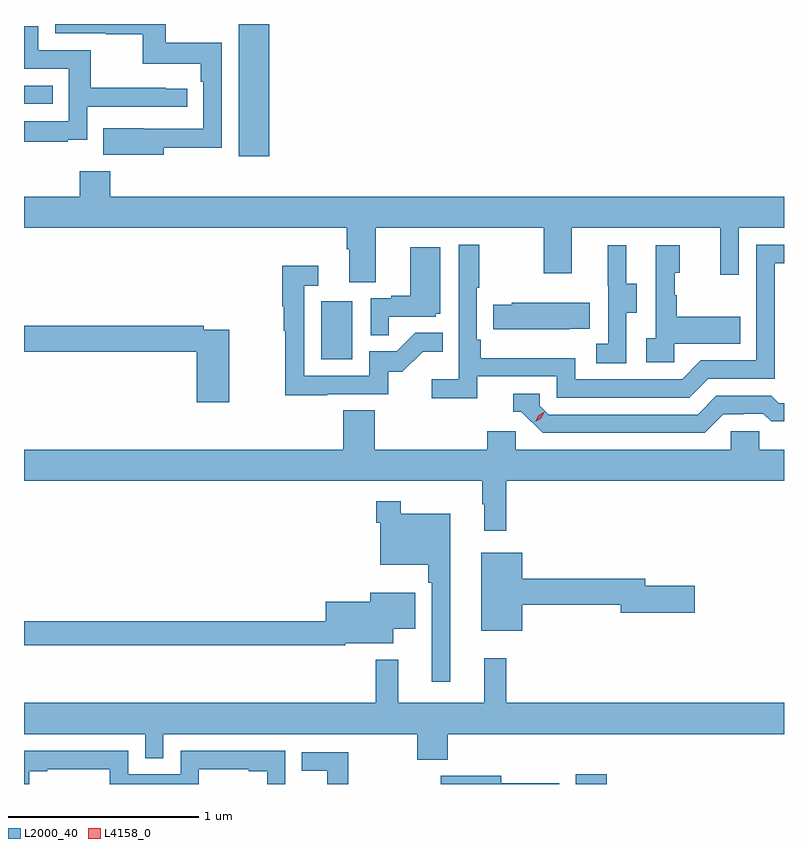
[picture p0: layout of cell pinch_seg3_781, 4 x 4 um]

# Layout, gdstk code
import gdstk
lib = gdstk.Library(unit=1e-6, precision=1e-09)
def R(c, l, rs):  # rectangles x0, y0, x1, y1
    for r in rs: c.add(gdstk.rectangle(r[:2], r[2:], *l))
def P(c, l, *ps):  # polygons
    for p in ps: c.add(gdstk.Polygon(p, *l))
L2000_40 = (2000, 40)
L4158_0 = (4158, 0)

pinch_seg3_781 = lib.new_cell('pinch_seg3_781')
R(pinch_seg3_781, L2000_40, [(820.229,717.969,820.39,718.021), (818.888,720.204,819.052,720.511), (818.453,721.272,818.614,721.969), (817.324,721.548,817.475,721.644)])
P(pinch_seg3_781, L2000_40, [(818.059,721.318),(818.364,721.318),(818.364,721.87),(818.071,721.87),(818.071,721.969),(817.488,721.969),(817.488,721.92),(817.753,721.92),(817.753,721.915),(817.95,721.915),(817.95,721.76),(818.255,721.76),(818.255,721.664),(818.268,721.664),(818.268,721.419),(817.955,721.419),(817.955,721.42),(817.741,721.42),(817.741,721.28),(818.059,721.28)],
  [(817.553,721.361),(817.656,721.361),(817.656,721.533),(818.182,721.533),(818.182,721.629),(818.069,721.629),(818.069,721.634),(817.676,721.634),(817.676,721.83),(817.399,721.83),(817.399,721.958),(817.324,721.958),(817.324,721.734),(817.56,721.734),(817.56,721.458),(817.324,721.458),(817.324,721.35),(817.553,721.35)],
  [(817.618,721.195),(817.618,721.06),(817.324,721.06),(817.324,720.896),(819.023,720.896),(819.023,720.784),(819.035,720.784),(819.035,720.61),(819.175,720.61),(819.175,720.896),(820.06,720.896),(820.06,720.657),(820.207,720.657),(820.207,720.896),(820.988,720.896),(820.988,720.648),(821.085,720.648),(821.085,720.896),(821.324,720.896),(821.324,721.06),(817.778,721.06),(817.778,721.195)],
  [(819.71,720.114),(820.128,720.114),(820.128,720.003),(820.825,720.003),(820.924,720.102),(821.274,720.102),(821.274,720.711),(821.324,720.711),(821.324,720.807),(821.178,720.807),(821.178,720.198),(820.887,720.198),(820.788,720.099),(820.224,720.099),(820.224,720.211),(819.728,720.211),(819.728,720.307),(819.708,720.307),(819.708,720.58),(819.721,720.58),(819.721,720.808),(819.612,720.808),(819.612,720.1),(819.471,720.1),(819.471,719.998),(819.71,719.998)],
  [(820.494,720.448),(820.549,720.448),(820.549,720.603),(820.495,720.603),(820.495,720.805),(820.397,720.805),(820.397,720.591),(820.398,720.591),(820.398,720.287),(820.335,720.287),(820.335,720.184),(820.494,720.184)],
  [(820.746,720.287),(821.093,720.287),(821.093,720.427),(820.759,720.427),(820.759,720.542),(820.749,720.542),(820.749,720.66),(820.774,720.66),(820.774,720.805),(820.65,720.805),(820.65,720.314),(820.599,720.314),(820.599,720.189),(820.746,720.189)],
  [(819.245,720.429),(819.492,720.429),(819.492,720.444),(819.514,720.444),(819.514,720.793),(819.356,720.793),(819.356,720.538),(819.257,720.538),(819.257,720.525),(819.15,720.525),(819.15,720.331),(819.245,720.331)],
  [(818.921,720.021),(819.24,720.021),(819.24,720.138),(819.316,720.138),(819.423,720.245),(819.527,720.245),(819.527,720.344),(819.383,720.344),(819.285,720.246),(819.141,720.246),(819.141,720.117),(818.799,720.117),(818.799,720.591),(818.872,720.591),(818.872,720.697),(818.683,720.697),(818.683,720.484),(818.691,720.484),(818.691,720.354),(818.698,720.354),(818.698,720.016),(818.921,720.016)],
  [(820.193,720.365),(820.301,720.365),(820.301,720.502),(819.891,720.502),(819.891,720.492),(819.793,720.492),(819.793,720.362),(820.193,720.362)],
  [(818.404,720.36),(818.27,720.36),(818.27,720.38),(817.324,720.38),(817.324,720.244),(818.234,720.244),(818.234,719.979),(818.404,719.979)],
  [(821.005,719.916),(821.112,719.916),(821.112,719.919),(821.215,719.919),(821.257,719.877),(821.324,719.877),(821.324,719.973),(821.296,719.973),(821.257,720.012),(820.968,720.012),(820.869,719.913),(820.086,719.913),(820.038,719.961),(820.038,720.024),(819.899,720.024),(819.899,719.928),(819.942,719.928),(820.053,719.817),(820.906,719.817)],
  [(819.863,719.564),(821.324,719.564),(821.324,719.728),(821.193,719.728),(821.193,719.826),(821.043,719.826),(821.043,719.728),(819.912,719.728),(819.912,719.826),(819.761,719.826),(819.761,719.728),(819.17,719.728),(819.17,719.936),(819.005,719.936),(819.005,719.728),(817.324,719.728),(817.324,719.564),(819.735,719.564),(819.735,719.441),(819.746,719.441),(819.746,719.301),(819.863,719.301)],
  [(819.568,719.392),(819.307,719.392),(819.307,719.458),(819.178,719.458),(819.178,719.345),(819.198,719.345),(819.198,719.123),(819.451,719.123),(819.451,719.027),(819.471,719.027),(819.471,718.506),(819.568,718.506)],
  [(819.946,718.912),(820.466,718.912),(820.466,718.87),(820.855,718.87),(820.855,719.012),(820.594,719.012),(820.594,719.048),(819.946,719.048),(819.946,719.185),(819.731,719.185),(819.731,718.775),(819.946,718.775)],
  [(819.016,718.709),(819.268,718.709),(819.268,718.787),(819.382,718.787),(819.382,718.975),(819.146,718.975),(819.146,718.927),(818.912,718.927),(818.912,718.826),(817.324,718.826),(817.324,718.698),(819.016,718.698)],
  [(819.554,718.232),(821.324,718.232),(821.324,718.396),(819.863,718.396),(819.863,718.63),(819.746,718.63),(819.746,718.396),(819.293,718.396),(819.293,718.624),(819.175,718.624),(819.175,718.396),(817.324,718.396),(817.324,718.232),(817.962,718.232),(817.962,718.105),(818.058,718.105),(818.058,718.232),(819.394,718.232),(819.394,718.097),(819.554,718.097)],
  [(817.352,718.035),(817.447,718.035),(817.447,718.047),(817.776,718.047),(817.776,717.969),(818.244,717.969),(818.244,718.047),(818.507,718.047),(818.507,718.035),(818.603,718.035),(818.603,717.969),(818.7,717.969),(818.7,718.143),(818.148,718.143),(818.148,718.02),(817.872,718.02),(817.872,718.143),(817.324,718.143),(817.324,717.969),(817.352,717.969)],
  [(819.031,718.137),(818.785,718.137),(818.785,718.04),(818.92,718.04),(818.92,717.969),(819.031,717.969)],
  [(820.14,717.974),(819.835,717.974),(819.835,718.012),(819.517,718.012),(819.517,717.969),(820.14,717.969)])
P(pinch_seg3_781, L4158_0, [(820.015,719.875),(820.015,719.875),(820.031,719.908),(820.061,719.928),(820.061,719.928),(820.061,719.927),(820.046,719.895),(820.016,719.875)])

lib.write_gds('pinch_seg3_781.gds')
